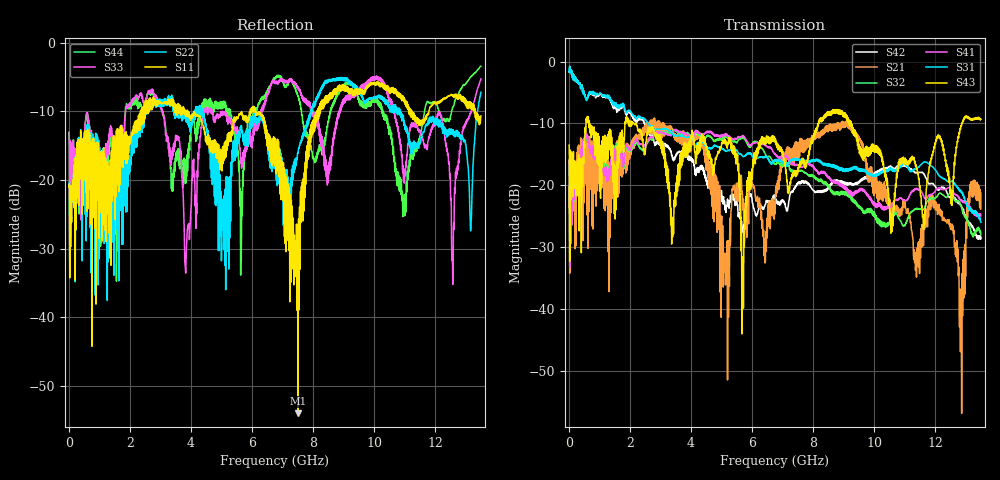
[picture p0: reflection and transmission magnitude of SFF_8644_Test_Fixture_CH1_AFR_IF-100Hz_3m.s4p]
!Keysight Technologies,N5231B,MY57181281,A.17.25.05
!Date: Friday, March 07, 2025 17:13:30
!Correction: S11(C  4-Port  )
!S12(C  4-Port  )
!S13(C  4-Port  )
!S14(C  4-Port  )
!S21(C  4-Port  )
!S22(C  4-Port  )
!S23(C  4-Port  )
!S24(C  4-Port  )
!S31(C  4-Port  )
!S32(C  4-Port  )
!S33(C  4-Port  )
!S34(C  4-Port  )
!S41(C  4-Port  )
!S42(C  4-Port  )
!S43(C  4-Port  )
!S44(C  4-Port  )
!S4P File: Measurements: <S11,S12,S13,S14>,
!<S21,S22,S23,S24>,
!<S31,S32,S33,S34>,
!<S41,S42,S43,S44>:
# Hz S  dB  R 50
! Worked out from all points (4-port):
!   1350 points, 10 MHz to 13.5 GHz, reference 50 ohm
!   strongest paths, dB at 10 MHz, 3.38 GHz, 6.76 GHz, 10.13 GHz, 13.5 GHz:
!     S43: -13.5, -26.4, -12.7, -14.8, -9.3
!     S31: -1.6, -11.5, -15.9, -18.2, -26.0
!     S41: -16.0, -11.7, -14.9, -23.0, -25.0
!     S32: -15.9, -11.3, -16.5, -25.6, -28.0
!     S21: -23.6, -10.9, -24.6, -22.7, -21.3
!     S42: -1.7, -15.2, -21.9, -17.7, -28.4
!   lowest |S11| = -54.0 dB at 7.51 GHz (marker M1), VSWR 1.00, Z = 50.1 - j0.189 ohm
!   |S11| at or under -10 dB: start of sweep to 2.349 GHz; 3.91 GHz to 5.946 GHz (2.036 GHz wide, 41.3 % of centre); 6.121 GHz to 8.129 GHz (2.008 GHz wide, 28.2 % of centre)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
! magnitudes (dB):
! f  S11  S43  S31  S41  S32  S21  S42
! 10 MHz  -21.0  -13.5  -1.6  -16.0  -15.9  -23.6  -1.7
! 6.05 GHz  -9.2  -16.9  -15.6  -13.3  -13.0  -20.3  -23.7
! 7.51 GHz  -54.0  -17.1  -15.9  -16.8  -17.8  -13.1  -19.8
! 8.42 GHz  -7.7  -8.5  -16.8  -18.4  -19.8  -11.2  -20.9
! 10.16 GHz  -6.0  -15.0  -18.2  -23.2  -26.0  -22.4  -17.6
! 12.57 GHz  -7.7  -20.9  -19.4  -21.0  -21.7  -27.3  -21.8
! 13.5 GHz  -10.7  -9.3  -26.0  -25.0  -28.0  -21.3  -28.4
